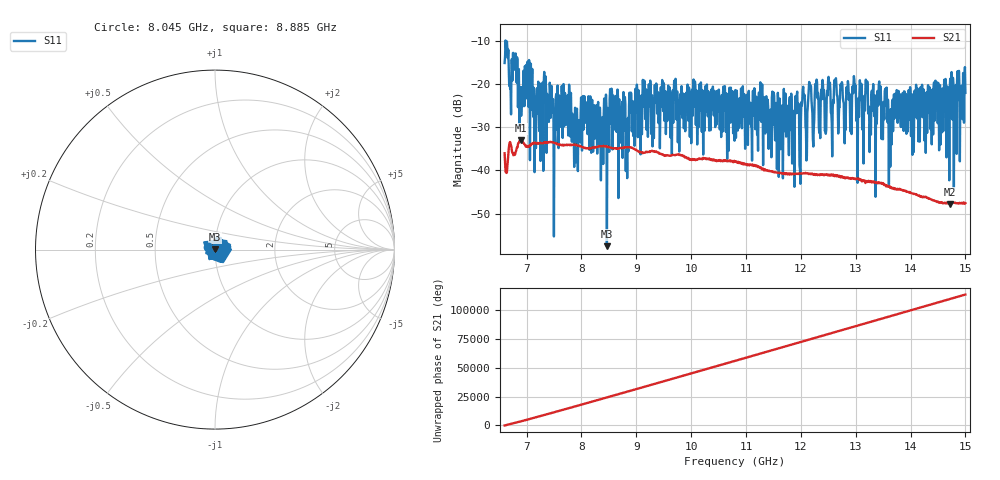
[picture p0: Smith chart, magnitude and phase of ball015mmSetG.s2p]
!Keysight Technologies,N5235B,MY61252044,A.15.00.15
!Date: Friday, January 20, 2023 19:37:03
!Correction: S11(Off)
!S21(Off)
!S12(Off)
!S22(Off)
!S2P File: Measurements: S11, S21, S12, S22:
# Hz S  RI  R 50
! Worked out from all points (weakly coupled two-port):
!   1001 points, 6.6 GHz to 15 GHz, reference 50 ohm
!   highest |S21| = -33.06 dB at 6.902 GHz (marker M1); lowest = -47.8 dB at 14.71 GHz (marker M2)
!   lowest |S11| = -57.6 dB at 8.465 GHz (marker M3), VSWR 1.00, Z = 49.9 + j0.115 ohm
!   |S11| at or under -10 dB: start of sweep to 6.616558 GHz; 6.617 GHz to end of sweep
!   S12 and S22 are empty: the file has one direction only
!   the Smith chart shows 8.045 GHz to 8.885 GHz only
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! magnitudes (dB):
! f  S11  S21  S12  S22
! 6.6 GHz  -15.1  -36.0  -  -
! 6.701 GHz  -21.1  -33.4  -  -
! 6.793 GHz  -16.6  -36.2  -  -
! 6.902 GHz  -27.4  -33.1  -  -
! 7.012 GHz  -22.6  -34.5  -  -
! 7.163 GHz  -26.1  -33.7  -  -
! 8.003 GHz  -26.7  -34.6  -  -
! 8.465 GHz  -57.6  -34.5  -  -
! 8.557 GHz  -21.7  -34.8  -  -
! 8.818 GHz  -28.2  -34.6  -  -
! 9.137 GHz  -25.2  -35.9  -  -
! 9.406 GHz  -29.0  -35.9  -  -
! 10.8 GHz  -21.5  -38.1  -  -
! 11.85 GHz  -28.2  -40.8  -  -
! 12.16 GHz  -20.1  -40.8  -  -
! 12.2 GHz  -25.2  -40.7  -  -
! 12.98 GHz  -19.1  -41.8  -  -
! 13.05 GHz  -23.2  -41.8  -  -
! 13.55 GHz  -25.1  -43.5  -  -
! 13.61 GHz  -43.3  -43.6  -  -
! 14.71 GHz  -21.1  -47.8  -  -
! 15 GHz  -22.0  -47.6  -  -
